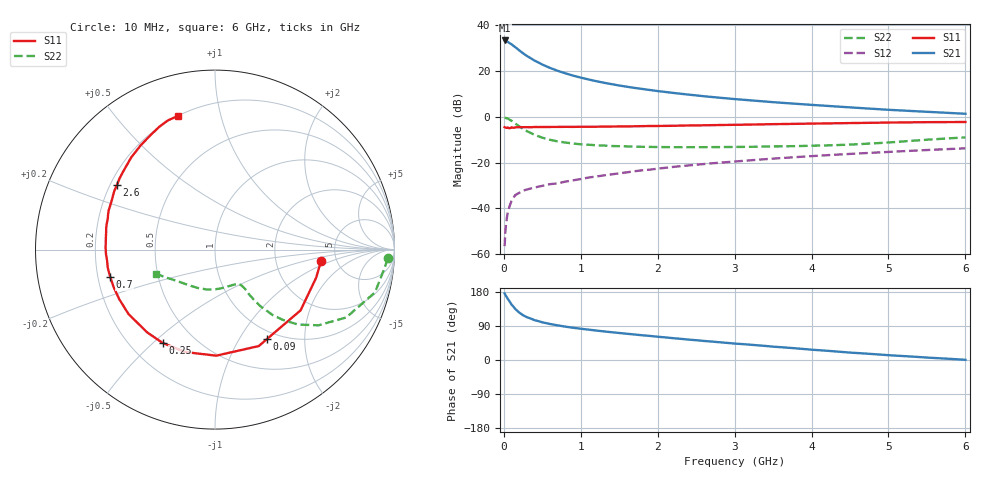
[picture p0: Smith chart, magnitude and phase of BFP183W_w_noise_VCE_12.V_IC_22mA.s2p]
! Infineon Technologies  Discrete & RF Semiconductors
! BFP183W
! VCE =  12. V,  IC =  22 mA
! Common Emitter S-Parameters:  Jan 2017
# GHz  S  MA  R  50
!  f  S11  S21  S12  S22
! GHz  MAG  ANG  MAG  ANG  MAG  ANG  MAG  ANG
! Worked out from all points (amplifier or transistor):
!   77 points, 10 MHz to 6 GHz, reference 50 ohm
!   highest |S21| = 33.4 dB at 10 MHz (marker M1)
!   |S21| within 3 dB of that: start of sweep to 151.1 MHz
!   unconditionally stable (mu >= 1): 1.234 GHz to 3.594 GHz
!   at 130 MHz: K = 0.25, MSG = 33.0 dB, |S12| = -35.1 dB
!   at 2.2 GHz: K = 1.06, MAG = 14.6 dB, |S12| = -21.9 dB
!   at 6 GHz: K = 0.86, MSG = 7.5 dB, |S12| = -13.7 dB
!   lowest NFmin = 1.22 dB at 450 MHz
!   S11 on the Smith chart (normalised r, x): 10 MHz: 3.78, -0.73; 90 MHz: 0.89, -1.33; 250 MHz: 0.33, -0.54; 700 MHz: 0.25, -0.12; 2.6 GHz: 0.23, +0.29; 6 GHz: 0.20, +0.74
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0.01  0.5943 -6.0  46.65 175.8  0.0015 65.0  0.9637 -2.9
0.02  0.585 -15.5  45.87 171.8  0.0031 85.4  0.9509 -6.1
0.05  0.5848 -35.4  43.6 161.6  0.008 71.1  0.9226 -15.0
0.09  0.5762 -59.7  39.36 149.6  0.0132 66.5  0.8401 -24.6
0.1  0.5901 -65.6  38.6 146.2  0.0145 65.9  0.8236 -27.3
0.15  0.591 -89.3  33.13 134.3  0.0197 56.9  0.7144 -36.2
0.2  0.5944 -106.2  28.36 125.2  0.0219 51.6  0.6227 -42.1
0.25  0.5961 -119.3  24.49 118.1  0.0244 47.3  0.5466 -45.9
0.3  0.5962 -129.2  21.34 112.9  0.0259 46.0  0.4869 -48.6
0.4  0.601 -143.3  16.92 105.0  0.0287 45.5  0.4039 -51.3
0.5  0.6008 -152.7  13.86 99.5  0.0312 45.6  0.3512 -52.2
0.6  0.6022 -159.9  11.74 95.0  0.0339 46.5  0.3158 -52.7
0.7  0.6033 -165.5  10.14 91.4  0.0353 49.1  0.291 -52.5
0.9  0.6044 -174.4  7.953 85.1  0.0411 51.3  0.2617 -53.0
1.1  0.6096 179.0  6.564 80.2  0.0473 53.9  0.246 -53.7
1.5  0.6187 168.5  4.842 71.3  0.0585 56.0  0.2284 -57.4
2.1  0.6356 155.6  3.499 59.6  0.0773 57.4  0.2186 -67.5
2.6  0.6546 146.5  2.824 50.3  0.0933 56.7  0.2179 -79.1
3.1  0.6745 138.4  2.373 42.0  0.1091 55.1  0.2209 -91.3
4.1  0.7165 124.2  1.783 25.8  0.1421 50.5  0.236 -116.9
5.1  0.754 113.5  1.399 11.5  0.1749 45.0  0.2835 -143.1
6  0.7726 105.4  1.169 0.5  0.2058 39.2  0.3569 -158.0
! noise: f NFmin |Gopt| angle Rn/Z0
0.45  1.22  0.22  174  0.1
0.9  1.25  0.26  177  0.09
1.9  1.73  0.41  -161  0.09
2.4  1.96  0.46  -155  0.12
